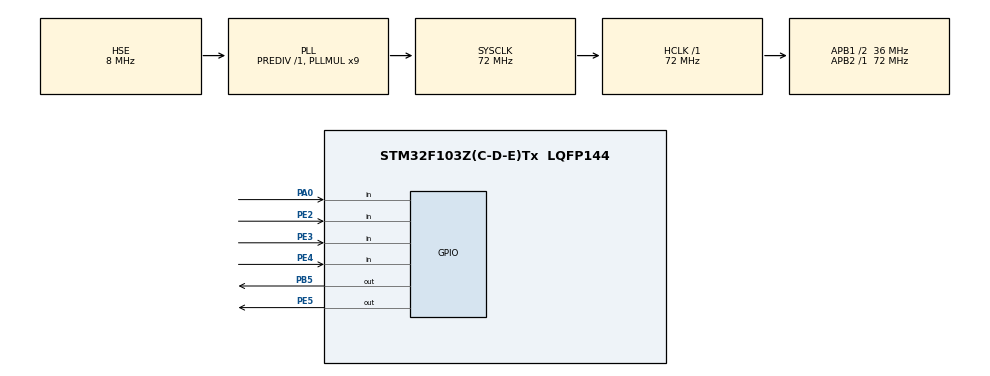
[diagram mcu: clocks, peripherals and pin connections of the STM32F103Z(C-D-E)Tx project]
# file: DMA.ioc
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Dma.MEMTOMEM.0.Direction=DMA_MEMORY_TO_MEMORY
Dma.MEMTOMEM.0.Instance=DMA1_Channel1
Dma.MEMTOMEM.0.MemDataAlignment=DMA_MDATAALIGN_WORD
Dma.MEMTOMEM.0.MemInc=DMA_MINC_ENABLE
Dma.MEMTOMEM.0.Mode=DMA_NORMAL
Dma.MEMTOMEM.0.PeriphDataAlignment=DMA_PDATAALIGN_WORD
Dma.MEMTOMEM.0.PeriphInc=DMA_PINC_ENABLE
Dma.MEMTOMEM.0.Priority=DMA_PRIORITY_MEDIUM
Dma.Request0=MEMTOMEM
Mcu.Family=STM32F1
Mcu.Name=STM32F103Z(C-D-E)Tx
Mcu.Package=LQFP144
NVIC.PriorityGroup=NVIC_PRIORITYGROUP_4
OSC_IN.Mode=HSE-External-Oscillator
OSC_IN.Signal=RCC_OSC_IN
OSC_OUT.Mode=HSE-External-Oscillator
OSC_OUT.Signal=RCC_OSC_OUT
PA0-WKUP.GPIO_PuPd=GPIO_PULLDOWN
PA0-WKUP.Signal=GPIO_Input
PA13.Mode=JTAG_4_pins
PA13.Signal=SYS_JTMS-SWDIO
PA14.Mode=JTAG_4_pins
PA14.Signal=SYS_JTCK-SWCLK
PA15.Mode=JTAG_4_pins
PA15.Signal=SYS_JTDI
PB3.Mode=JTAG_4_pins
PB3.Signal=SYS_JTDO-TRACESWO
PB5.GPIO_PuPd=GPIO_PULLUP
PB5.GPIO_Speed=GPIO_SPEED_FREQ_MEDIUM
PB5.PinState=GPIO_PIN_SET
PB5.Signal=GPIO_Output
PE2.GPIO_PuPd=GPIO_PULLUP
PE2.Signal=GPIO_Input
PE3.GPIO_PuPd=GPIO_PULLUP
PE3.Signal=GPIO_Input
PE4.GPIO_PuPd=GPIO_PULLUP
PE4.Signal=GPIO_Input
PE5.GPIO_PuPd=GPIO_PULLUP
PE5.GPIO_Speed=GPIO_SPEED_FREQ_MEDIUM
PE5.PinState=GPIO_PIN_SET
PE5.Signal=GPIO_Output
ProjectManager.HeapSize=0x200
ProjectManager.StackSize=0x400
ProjectManager.TargetToolchain=MDK-ARM V5.27
RCC.AHBFreq_Value=72000000
RCC.APB1CLKDivider=RCC_HCLK_DIV2
RCC.APB1Freq_Value=36000000
RCC.APB1TimFreq_Value=72000000
RCC.APB2Freq_Value=72000000
RCC.APB2TimFreq_Value=72000000
RCC.HCLKFreq_Value=72000000
RCC.PLLMUL=RCC_PLL_MUL9
RCC.PLLSourceVirtual=RCC_PLLSOURCE_HSE
RCC.SYSCLKFreq_VALUE=72000000
RCC.SYSCLKSource=RCC_SYSCLKSOURCE_PLLCLK
RCC.USBFreq_Value=72000000
board=custom

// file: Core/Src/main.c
/* USER CODE BEGIN Header */
/**
  ******************************************************************************
  * @file           : main.c
  * @brief          : Main program body
  ******************************************************************************
  * @attention
  *
  * <h2><center>&copy; Copyright (c) 2021 STMicroelectronics.
  * All rights reserved.</center></h2>
  *
  * This software component is licensed by ST under BSD 3-Clause license,
  * the "License"; You may not use this file except in compliance with the
  * License. You may obtain a copy of the License at:
  *                        opensource.org/licenses/BSD-3-Clause
  *
  ******************************************************************************
  */
/* USER CODE END Header */
#include "main.h"
#include "dma.h"
#include "gpio.h"

void SystemClock_Config(void);

/* USER CODE BEGIN 0 */
const uint32_t aSRC_Const_Buffer[ ] = {
    0x01020304, 0x05060708, 0x090A0B0C, 0x0D0E0F10,
    0x11121314, 0x15161718, 0x191A1B1C, 0x1D1E1F20,
    0x21222324, 0x25262728, 0x292A2B2C, 0x2D2E2F30,
    0x31323334, 0x35363738, 0x393A3B3C, 0x3D3E3F40,
    0x41424344, 0x45464748, 0x494A4B4C, 0x4D4E4F50,
    0x51525354, 0x55565758, 0x595A5B5C, 0x5D5E5F60,
    0x61626364, 0x65666768, 0x696A6B6C, 0x6D6E6F70,
    0x71727374, 0x75767778, 0x797A7B7C, 0x7D7E7F80};//定义DMA传输源存储器，存储在FLASH中

#define COUNTOF(_BUFFER_) (sizeof(_BUFFER_)/sizeof(*(_BUFFER_)))
#define BUFFER_SIZE COUNTOF(aSRC_Const_Buffer)

uint32_t aDST_Buffer[BUFFER_SIZE]={0};//定义DMA传输目标存储器，存储在SRAM

uint8_t BufferCmp(const uint32_t *pBuffer,uint32_t *pBuffer1, uint16_t BufferLength);
/* USER CODE END 0 */

int main(void)
{

  /* MCU Configuration--------------------------------------------------------*/

  /* Reset of all peripherals, Initializes the Flash interface and the Systick. */
  HAL_Init();

  /* Configure the system clock */
  SystemClock_Config();

  /* Initialize all configured peripherals */
  MX_GPIO_Init();
  MX_DMA_Init();

  /* Infinite loop */
  while (1)
  {

    /* USER CODE BEGIN 3 */
		if(WK_UP() == 1)
		{
			LED2_Toggle();
			HAL_DMA_Start(&hdma_memtomem_dma1_channel1, (uint32_t)aSRC_Const_Buffer, (uint32_t)aDST_Buffer, BUFFER_SIZE);
			while (__HAL_DMA_GET_FLAG(&hdma_memtomem_dma1_channel1, DMA_FLAG_TC1) == RESET);
			if(BufferCmp(aSRC_Const_Buffer, aDST_Buffer, BUFFER_SIZE) == 1)
			{
				LED3_Toggle();
			}
			__HAL_DMA_CLEAR_FLAG(&hdma_memtomem_dma1_channel1, DMA_FLAG_TC1);
			memset(aDST_Buffer,0,BUFFER_SIZE);
		}
		HAL_Delay(10);
  }
  /* USER CODE END 3 */
}

void SystemClock_Config(void)
{
  RCC_OscInitTypeDef RCC_OscInitStruct = {0};
  RCC_ClkInitTypeDef RCC_ClkInitStruct = {0};

  /** Initializes the RCC Oscillators according to the specified parameters
  * in the RCC_OscInitTypeDef structure.
  */
  RCC_OscInitStruct.OscillatorType = RCC_OSCILLATORTYPE_HSE;
  RCC_OscInitStruct.HSEState = RCC_HSE_ON;
  RCC_OscInitStruct.HSEPredivValue = RCC_HSE_PREDIV_DIV1;
  RCC_OscInitStruct.HSIState = RCC_HSI_ON;
  RCC_OscInitStruct.PLL.PLLState = RCC_PLL_ON;
  RCC_OscInitStruct.PLL.PLLSource = RCC_PLLSOURCE_HSE;
  RCC_OscInitStruct.PLL.PLLMUL = RCC_PLL_MUL9;
  if (HAL_RCC_OscConfig(&RCC_OscInitStruct) != HAL_OK)
  {
    Error_Handler();
  }
  /** Initializes the CPU, AHB and APB buses clocks
  */
  RCC_ClkInitStruct.ClockType = RCC_CLOCKTYPE_HCLK|RCC_CLOCKTYPE_SYSCLK
                              |RCC_CLOCKTYPE_PCLK1|RCC_CLOCKTYPE_PCLK2;
  RCC_ClkInitStruct.SYSCLKSource = RCC_SYSCLKSOURCE_PLLCLK;
  RCC_ClkInitStruct.AHBCLKDivider = RCC_SYSCLK_DIV1;
  RCC_ClkInitStruct.APB1CLKDivider = RCC_HCLK_DIV2;
  RCC_ClkInitStruct.APB2CLKDivider = RCC_HCLK_DIV1;

  if (HAL_RCC_ClockConfig(&RCC_ClkInitStruct, FLASH_LATENCY_2) != HAL_OK)
  {
    Error_Handler();
  }
}

/* USER CODE BEGIN 4 */
uint8_t BufferCmp(const uint32_t *pBuffer,uint32_t *pBuffer1, uint16_t BufferLength)
{
	assert(pBuffer!=NULL || pBuffer1!=NULL || BufferLength>0);
	while (BufferLength--)
	{
		if (*pBuffer != *pBuffer1)
		{
			return 0;
		}
		pBuffer++;
		pBuffer1++;
	}
	return 1;
}
/* USER CODE END 4 */

void Error_Handler(void)
{
  __disable_irq();
  while (1)
  {
  }
}

/************************ (C) COPYRIGHT STMicroelectronics *****END OF FILE****/
